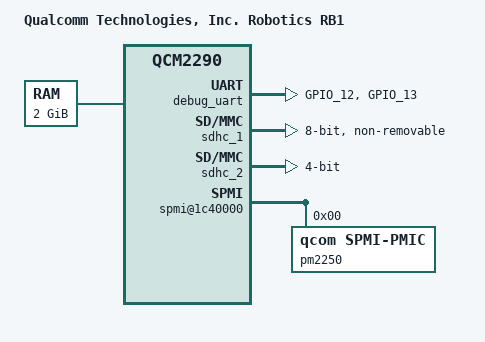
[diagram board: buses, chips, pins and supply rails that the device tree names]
// SPDX-License-Identifier: GPL-2.0+
/*
 * Copyright (c) 2023, Linaro Limited
 */

/dts-v1/;

#include "skeleton64.dtsi"
#include <dt-bindings/gpio/gpio.h>
#include <dt-bindings/clock/qcom,gcc-qcm2290.h>

/ {
	model = "Qualcomm Technologies, Inc. Robotics RB1";
	compatible = "qcom,qrb2210-rb1", "qcom,qrb2210", "qcom,qcm2290";
	#address-cells = <2>;
	#size-cells = <2>;

	chosen {
		stdout-path = "serial0:115200n8";
	};

	aliases {
		serial0 = &debug_uart;
	};

	memory {
		device_type = "memory";
		reg = <0x0 0x40000000 0x0 0x80000000>;
	};

	reserved_memory: reserved-memory {
		#address-cells = <2>;
		#size-cells = <2>;
		ranges;

		hyp_mem: hyp@45700000 {
			reg = <0x0 0x45700000 0x0 0x600000>;
			no-map;
		};

		xbl_aop_mem: xbl-aop@45e00000 {
			reg = <0x0 0x45e00000 0x0 0x140000>;
			no-map;
		};

		sec_apps_mem: sec-apps@45fff000 {
			reg = <0x0 0x45fff000 0x0 0x1000>;
			no-map;
		};

		smem_mem: smem@46000000 {
			compatible = "qcom,smem";
			reg = <0x0 0x46000000 0x0 0x200000>;
			no-map;
		};

		pil_modem_mem: modem@4ab00000 {
			reg = <0x0 0x4ab00000 0x0 0x6900000>;
			no-map;
		};

		pil_video_mem: video@51400000 {
			reg = <0x0 0x51400000 0x0 0x500000>;
			no-map;
		};

		wlan_msa_mem: wlan-msa@51900000 {
			reg = <0x0 0x51900000 0x0 0x100000>;
			no-map;
		};

		pil_adsp_mem: adsp@51a00000 {
			reg = <0x0 0x51a00000 0x0 0x1c00000>;
			no-map;
		};

		pil_ipa_fw_mem: ipa-fw@53600000 {
			reg = <0x0 0x53600000 0x0 0x10000>;
			no-map;
		};

		pil_ipa_gsi_mem: ipa-gsi@53610000 {
			reg = <0x0 0x53610000 0x0 0x5000>;
			no-map;
		};

		pil_gpu_mem: zap@53615000 {
			compatible = "shared-dma-pool";
			reg = <0x0 0x53615000 0x0 0x2000>;
			no-map;
		};

		cont_splash_memory: framebuffer@5c000000 {
			reg = <0x0 0x5c000000 0x0 0x00f00000>;
			no-map;
		};

		dfps_data_memory: dpfs-data@5cf00000 {
			reg = <0x0 0x5cf00000 0x0 0x0100000>;
			no-map;
		};

		removed_mem: reserved@60000000 {
			reg = <0x0 0x60000000 0x0 0x3900000>;
			no-map;
		};

		rmtfs_mem: memory@89b01000 {
			compatible = "qcom,rmtfs-mem";
			reg = <0x0 0x89b01000 0x0 0x200000>;
			no-map;
		};
	};


	soc: soc {
		compatible = "simple-bus";
		#address-cells = <2>;
		#size-cells = <2>;
		ranges;

		tlmm: pinctrl_west@500000 {
			compatible = "qcom,qcm2290-pinctrl";
			reg = <0x0 0x00500000 0x0 0x300000>;
			gpio-count = <127>;
			gpio-controller;
			#gpio-cells = <2>;
			gpio-ranges = <&tlmm 0 0 127>;

			/* DEBUG UART */
			debug_uart_on: debug_uart-default {
				pins = "GPIO_12", "GPIO_13";
				function = "qup4";
			};
		};

		gcc: clock-controller@1400000 {
			compatible = "qcom,gcc-qcm2290";
			reg = <0x0 0x01400000 0x0 0x1f0000>;
			#clock-cells = <1>;
			#reset-cells = <1>;
			#power-domain-cells = <1>;
		};

		debug_uart: serial@4a90000 {
			compatible = "qcom,msm-geni-uart";
			reg = <0x0 0x04a90000 0x0 0x4000>;
			reg-names = "se_phys";
			clock-names = "se-clk";
			clocks = <&gcc GCC_QUPV3_WRAP0_S4_CLK>;
			pinctrl-names = "default";
			pinctrl-0 = <&debug_uart_on>;
		};


		sdhc_1: mmc@4744000 {
			compatible = "qcom,sdhci-msm-v5";
			reg = <0x0 0x04744000 0x0 0x1000>,
			      <0x0 0x04745000 0x0 0x1000>;
			clock = <&gcc GCC_SDCC1_APPS_CLK>,
				<&gcc GCC_SDCC1_AHB_CLK>;
			bus-width = <8>;
			//pinctrl-names = "default";
			//pinctrl-0 = <&sdc1_state_on>;

			no-sdio;
			non-removable;
		};

		sdhc_2: mmc@4784000 {
			compatible = "qcom,sdhci-msm-v5";
			reg = <0x0 0x04784000 0x0 0x1000>;
			clock = <&gcc GCC_SDCC2_APPS_CLK>,
				<&gcc GCC_SDCC2_AHB_CLK>;
			bus-width = <4>;
			//pinctrl-names = "default";
			//pinctrl-0 = <&sdc2_state_on>;

			no-sdio;
		};

		spmi@1c40000 {
			compatible = "qcom,spmi-pmic-arb";
			reg = <0x0 0x01c0a000 0x0 0x26000>,
			      <0x0 0x01c40000 0x0 0x1100>,
			      <0x0 0x03e00000 0x0 0x100000>;
			reg-names = "cnfg", "core", "obsrvr";
			#address-cells = <1>;
			#size-cells = <0>;

			pm2250: pmic@0 {
				compatible = "qcom,spmi-pmic";
				reg = <0x0 0x1>;
				#address-cells = <1>;
				#size-cells = <0>;

				pm6125_gpios: gpio@c000 {
					compatible = "qcom,spmi-gpio";
					reg = <0xc000>;
					gpio-controller;
					gpio-count = <9>;
					#gpio-cells = <2>;
					gpio-bank-name="pmic";
				};
			};
		};
	};
};

#include "qrb2210-rb1-uboot.dtsi"
